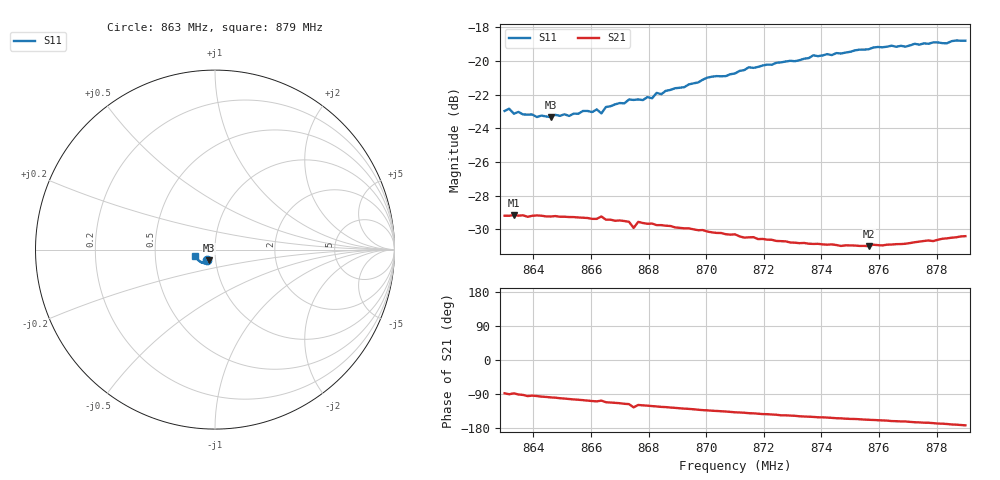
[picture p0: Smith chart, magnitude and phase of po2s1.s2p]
# HZ S RI R 50
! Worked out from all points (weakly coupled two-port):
!   101 points, 863 MHz to 879 MHz, reference 50 ohm
!   highest |S21| = -29.15 dB at 863.32 MHz (marker M1); lowest = -31.0 dB at 875.64 MHz (marker M2)
!   lowest |S11| = -23.3 dB at 864.6 MHz (marker M3), VSWR 1.15, Z = 46.4 - j5.48 ohm
!   |S11| at or under -10 dB: start of sweep to end of sweep
!   S12 and S22 are empty: the file has one direction only
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8.63e8  -0.0422 -0.0571  0.00129 -0.0347  0 0  0 0
8.6316e8  -0.0438 -0.0573  -0.000227 -0.0347  0 0  0 0
8.6332e8  -0.0391 -0.0577  0.00124 -0.0348  0 0  0 0
8.646e8  -0.0343 -0.0588  -0.00524 -0.0341  0 0  0 0
8.6572e8  -0.0343 -0.0622  -0.0094 -0.0329  0 0  0 0
8.662e8  -0.0359 -0.0622  -0.0112 -0.0321  0 0  0 0
8.6636e8  -0.0333 -0.0614  -0.0102 -0.033  0 0  0 0
8.6652e8  -0.0349 -0.0641  -0.0124 -0.0314  0 0  0 0
8.6732e8  -0.0372 -0.0672  -0.0148 -0.0298  0 0  0 0
8.6748e8  -0.0366 -0.0673  -0.0183 -0.0262  0 0  0 0
8.6764e8  -0.0402 -0.0655  -0.016 -0.0292  0 0  0 0
8.6812e8  -0.0374 -0.0678  -0.0173 -0.028  0 0  0 0
8.6828e8  -0.0384 -0.0706  -0.0175 -0.0274  0 0  0 0
8.6844e8  -0.0393 -0.0693  -0.0181 -0.0271  0 0  0 0
8.7004e8  -0.0481 -0.0751  -0.0212 -0.0228  0 0  0 0
8.71e8  -0.0529 -0.0749  -0.0227 -0.0204  0 0  0 0
8.7148e8  -0.0577 -0.0764  -0.023 -0.0191  0 0  0 0
8.7308e8  -0.0681 -0.073  -0.0243 -0.0156  0 0  0 0
8.7372e8  -0.0739 -0.073  -0.0248 -0.0142  0 0  0 0
8.7564e8  -0.0884 -0.0624  -0.0261 -0.0107  0 0  0 0
8.7644e8  -0.095 -0.0573  -0.027 -0.00918  0 0  0 0
8.79e8  -0.1091 -0.0355  -0.0299 -0.00396  0 0  0 0
